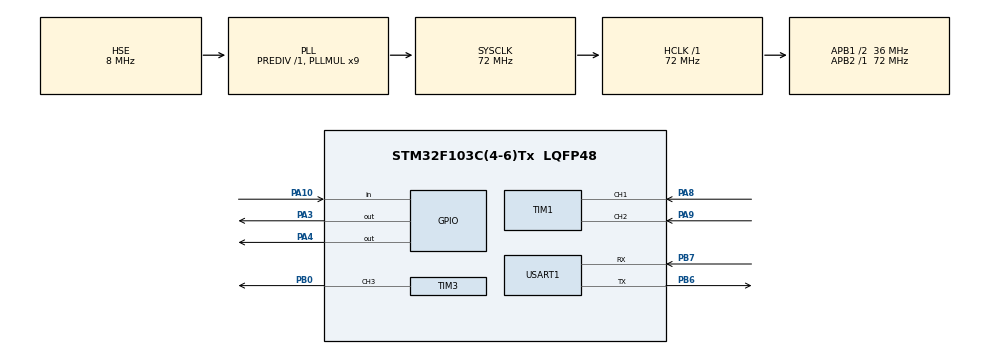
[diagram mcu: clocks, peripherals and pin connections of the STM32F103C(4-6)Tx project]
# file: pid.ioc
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Mcu.Family=STM32F1
Mcu.Name=STM32F103C(4-6)Tx
Mcu.Package=LQFP48
NVIC.PriorityGroup=NVIC_PRIORITYGROUP_4
NVIC.TIM1_UP_IRQn=true\:0\:0\:false\:false\:true\:true\:true\:true
NVIC.TIM2_IRQn=true\:3\:0\:true\:false\:true\:true\:true\:true
NVIC.USART1_IRQn=true\:4\:0\:true\:false\:true\:true\:true\:true
PA10.GPIO_PuPd=GPIO_PULLUP
PA10.Signal=GPIO_Input
PA13.Mode=Serial_Wire
PA13.Signal=SYS_JTMS-SWDIO
PA14.Mode=Serial_Wire
PA14.Signal=SYS_JTCK-SWCLK
PA3.Signal=GPIO_Output
PA4.Signal=GPIO_Output
PA8.Signal=S_TIM1_CH1
PA9.Signal=S_TIM1_CH2
PB0.Signal=S_TIM3_CH3
PB6.Mode=Asynchronous
PB6.Signal=USART1_TX
PB7.Mode=Asynchronous
PB7.Signal=USART1_RX
PD0-OSC_IN.Mode=HSE-External-Oscillator
PD0-OSC_IN.Signal=RCC_OSC_IN
PD1-OSC_OUT.Mode=HSE-External-Oscillator
PD1-OSC_OUT.Signal=RCC_OSC_OUT
ProjectManager.HeapSize=0x200
ProjectManager.StackSize=0x400
ProjectManager.TargetToolchain=MDK-ARM V5.32
RCC.AHBFreq_Value=72000000
RCC.APB1CLKDivider=RCC_HCLK_DIV2
RCC.APB1Freq_Value=36000000
RCC.APB1TimFreq_Value=72000000
RCC.APB2Freq_Value=72000000
RCC.APB2TimFreq_Value=72000000
RCC.HCLKFreq_Value=72000000
RCC.PLLMUL=RCC_PLL_MUL9
RCC.PLLSourceVirtual=RCC_PLLSOURCE_HSE
RCC.SYSCLKFreq_VALUE=72000000
RCC.SYSCLKSource=RCC_SYSCLKSOURCE_PLLCLK
RCC.USBFreq_Value=72000000
SH.S_TIM1_CH1.0=TIM1_CH1,Encoder_Interface
SH.S_TIM1_CH2.0=TIM1_CH2,Encoder_Interface
SH.S_TIM3_CH3.0=TIM3_CH3,PWM Generation3 CH3
TIM2.Period=10000
TIM2.Prescaler=72
TIM3.Channel-PWM\ Generation3\ CH3=TIM_CHANNEL_3
TIM3.Period=1000
TIM3.Prescaler=72
TIM3.Pulse-PWM\ Generation3\ CH3=5000
USART1.VirtualMode=VM_ASYNC
VP_TIM2_VS_ClockSourceINT.Mode=Internal
VP_TIM3_VS_ClockSourceINT.Mode=Internal
board=custom

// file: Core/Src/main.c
/* USER CODE BEGIN Header */
/**
  ******************************************************************************
  * @file           : main.c
  * @brief          : Main program body
  ******************************************************************************
  * @attention
  *
  * Copyright (c) 2023 STMicroelectronics.
  * All rights reserved.
  *
  * This software is licensed under terms that can be found in the LICENSE file
  * in the root directory of this software component.
  * If no LICENSE file comes with this software, it is provided AS-IS.
  *
  ******************************************************************************
  */
/* USER CODE END Header */
#include "main.h"
#include "tim.h"
#include "usart.h"
#include "gpio.h"

/* USER CODE BEGIN Includes */
#include "INCLUDES.h"
extern int encode_count ;

/* USER CODE END Includes */

/* USER CODE BEGIN PD */
extern int b;
/* USER CODE END PD */

void SystemClock_Config(void);
/* USER CODE BEGIN PFP */
int a=0;
/* USER CODE END PFP */

int main(void)
{

  /* MCU Configuration--------------------------------------------------------*/

  /* Reset of all peripherals, Initializes the Flash interface and the Systick. */
  HAL_Init();

  /* Configure the system clock */
  SystemClock_Config();

  /* Initialize all configured peripherals */
  MX_GPIO_Init();
  MX_TIM3_Init();
  MX_TIM1_Init();
  MX_TIM2_Init();
  MX_USART1_UART_Init();
  /* USER CODE BEGIN 2 */
   my_pwm_init();
   HAL_TIM_Encoder_Start(&htim1,TIM_CHANNEL_1);
   HAL_TIM_Encoder_Start(&htim1,TIM_CHANNEL_2);
   HAL_TIM_Base_Start_IT(&htim2);
   pid_init();

  /* USER CODE END 2 */

  /* Infinite loop */
  /* USER CODE BEGIN WHILE */
  while (1)
  {

   printf("%0.5f,%0.2f\n",g_motor_data.speed, g_speed_pid.SetPoint);

if(!HAL_GPIO_ReadPin(GPIOA,  GPIO_PIN_10))
	{
	HAL_Delay(20);
  if(!HAL_GPIO_ReadPin(GPIOA,  GPIO_PIN_10))
	{
	a++;
	}

	}

		if(a%2==1)
			{

		g_speed_pid.SetPoint = 290;

		}
			else if(a%2==0)
			{

			g_speed_pid.SetPoint = 0;

			}

		//                         速度                     目标                  pwm值

    /* USER CODE END WHILE */

  }
}

void SystemClock_Config(void)
{
  RCC_OscInitTypeDef RCC_OscInitStruct = {0};
  RCC_ClkInitTypeDef RCC_ClkInitStruct = {0};

  /** Initializes the RCC Oscillators according to the specified parameters
  * in the RCC_OscInitTypeDef structure.
  */
  RCC_OscInitStruct.OscillatorType = RCC_OSCILLATORTYPE_HSE;
  RCC_OscInitStruct.HSEState = RCC_HSE_ON;
  RCC_OscInitStruct.HSEPredivValue = RCC_HSE_PREDIV_DIV1;
  RCC_OscInitStruct.HSIState = RCC_HSI_ON;
  RCC_OscInitStruct.PLL.PLLState = RCC_PLL_ON;
  RCC_OscInitStruct.PLL.PLLSource = RCC_PLLSOURCE_HSE;
  RCC_OscInitStruct.PLL.PLLMUL = RCC_PLL_MUL9;
  if (HAL_RCC_OscConfig(&RCC_OscInitStruct) != HAL_OK)
  {
    Error_Handler();
  }

  /** Initializes the CPU, AHB and APB buses clocks
  */
  RCC_ClkInitStruct.ClockType = RCC_CLOCKTYPE_HCLK|RCC_CLOCKTYPE_SYSCLK
                              |RCC_CLOCKTYPE_PCLK1|RCC_CLOCKTYPE_PCLK2;
  RCC_ClkInitStruct.SYSCLKSource = RCC_SYSCLKSOURCE_PLLCLK;
  RCC_ClkInitStruct.AHBCLKDivider = RCC_SYSCLK_DIV1;
  RCC_ClkInitStruct.APB1CLKDivider = RCC_HCLK_DIV2;
  RCC_ClkInitStruct.APB2CLKDivider = RCC_HCLK_DIV1;

  if (HAL_RCC_ClockConfig(&RCC_ClkInitStruct, FLASH_LATENCY_2) != HAL_OK)
  {
    Error_Handler();
  }
}

void Error_Handler(void)
{
  __disable_irq();
  while (1)
  {
  }
}
